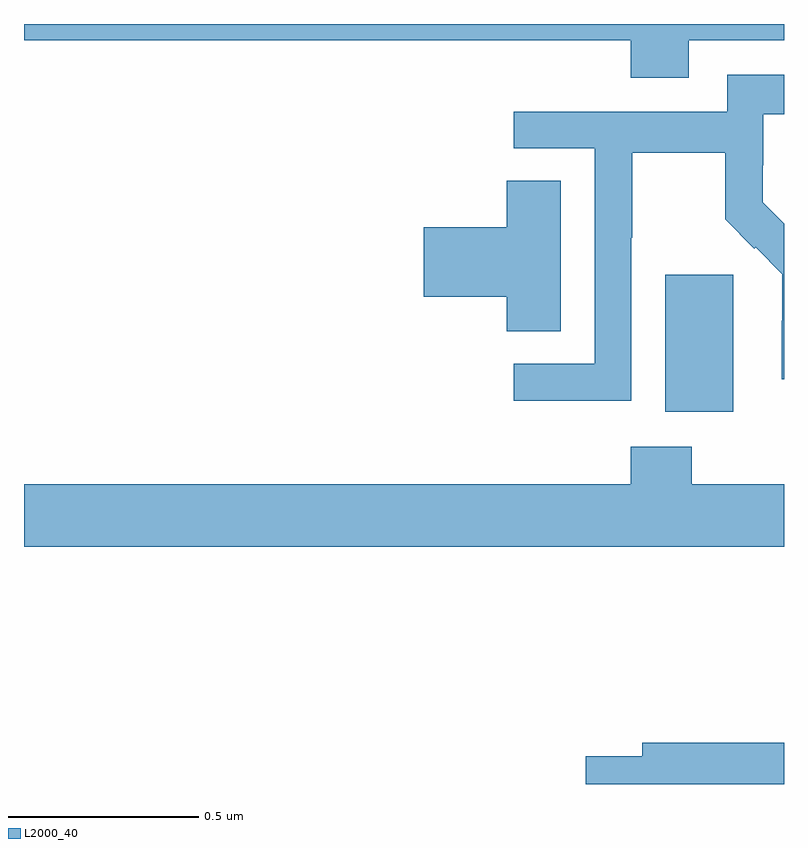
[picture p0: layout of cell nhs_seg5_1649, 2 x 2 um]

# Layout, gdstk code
import gdstk
lib = gdstk.Library(unit=1e-6, precision=1e-09)
def R(c, l, rs):  # rectangles x0, y0, x1, y1
    for r in rs: c.add(gdstk.rectangle(r[:2], r[2:], *l))
def P(c, l, *ps):  # polygons
    for p in ps: c.add(gdstk.Polygon(p, *l))
L2000_40 = (2000, 40)

nhs_seg5_1649 = lib.new_cell('nhs_seg5_1649')
R(nhs_seg5_1649, L2000_40, [(134.687,859.778,134.866,860.139)])
P(nhs_seg5_1649, L2000_40, [(134.749,860.756),(135,860.756),(135,860.799),(133,860.799),(133,860.756),(134.597,860.756),(134.597,860.657),(134.749,860.657)],
  [(134.598,860.236),(134.601,860.236),(134.601,860.46),(134.845,860.46),(134.845,860.285),(134.922,860.208),(134.925,860.211),(134.996,860.141),(134.996,860.018),(134.994,860.018),(134.994,859.864),(135,859.864),(135,860.274),(134.944,860.33),(134.944,860.427),(134.946,860.427),(134.946,860.561),(135,860.561),(135,860.665),(134.85,860.665),(134.85,860.568),(134.289,860.568),(134.289,860.472),(134.502,860.472),(134.502,859.905),(134.289,859.905),(134.289,859.807),(134.598,859.807)],
  [(134.413,860.387),(134.27,860.387),(134.27,860.264),(134.052,860.264),(134.052,860.081),(134.27,860.081),(134.27,859.99),(134.413,859.99)],
  [(135,859.588),(134.757,859.588),(134.757,859.687),(134.597,859.687),(134.597,859.588),(133,859.588),(133,859.424),(135,859.424)],
  [(135,858.908),(134.627,858.908),(134.627,858.872),(134.478,858.872),(134.478,858.799),(135,858.799)])

lib.write_gds('nhs_seg5_1649.gds')
